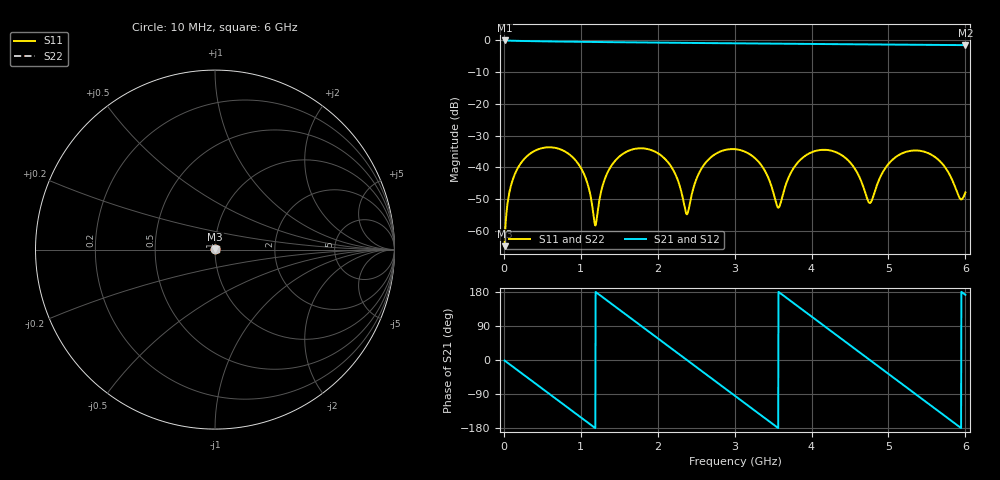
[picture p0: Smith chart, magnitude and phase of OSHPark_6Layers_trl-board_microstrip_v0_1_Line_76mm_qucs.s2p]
# HZ S RI R 50
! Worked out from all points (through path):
!   1601 points, 10 MHz to 6 GHz, reference 50 ohm
!   highest |S21| = -0.04 dB at 10 MHz (marker M1); lowest = -1.5 dB at 6 GHz (marker M2)
!   group delay of S21, straight-line fit = 420 ps
!   lowest |S11| = -64.8 dB at 10 MHz (marker M3), VSWR 1.00, Z = 50 + j0.0563 ohm
!   |S11| at or under -10 dB: start of sweep to end of sweep
!   |S22| runs from -64.8 to -33.7 dB; largest |S21 - S12| = 0
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1e7  0.000108 0.000563  0.9953 -0.0263  0.9953 -0.0263  0.000108 0.000563
1.073375e8  0.00195 0.00561  0.9457 -0.2755  0.9457 -0.2755  0.00195 0.00561
3.169875e8  0.0118 0.0101  0.6515 -0.7224  0.6515 -0.7224  0.0118 0.0101
6.53925e8  0.0202 -0.00303  -0.1486 -0.9473  -0.1486 -0.9473  0.0202 -0.00303
1.009581e9  0.00516 -0.00786  -0.8418 -0.4343  -0.8418 -0.4343  0.00516 -0.00786
1.189281e9  0.00121 -3.23e-05  -0.9419 -0.00159  -0.9419 -0.00159  0.00121 -3.23e-05
1.309081e9  0.0031 0.00557  -0.8923 0.2905  -0.8923 0.2905  0.0031 0.00557
1.466319e9  0.00971 0.00932  -0.696 0.6228  -0.696 0.6228  0.00971 0.00932
1.739612e9  0.0197 0.00218  -0.1103 0.9201  -0.1103 0.9201  0.0197 0.00218
2.009162e9  0.0142 -0.00842  0.5136 0.7632  0.5136 0.7632  0.0142 -0.00842
2.218812e9  0.0048 -0.00675  0.8337 0.3771  0.8337 0.3771  0.0048 -0.00675
2.379794e9  0.00182 7.78e-06  0.9113 -0.000398  0.9113 -0.000398  0.00182 7.78e-06
2.61565e9  0.00793 0.00835  0.7354 -0.5288  0.7354 -0.5288  0.00793 0.00835
3.005e9  0.0193 -0.00139  -0.0725 -0.8942  -0.0725 -0.8942  0.0193 -0.00139
3.338194e9  0.0078 -0.00798  -0.7298 -0.5099  -0.7298 -0.5099  0.0078 -0.00798
3.566562e9  0.00231 -0.000109  -0.8856 -0.00575  -0.8856 -0.00575  0.00231 -0.000109
4.004581e9  0.0162 0.00613  -0.3575 0.8005  -0.3575 0.8005  0.0162 0.00613
4.446344e9  0.0113 -0.00805  0.59 0.637  0.59 0.637  0.0113 -0.00805
4.757075e9  0.00274 -4.01e-05  0.8625 0.00217  0.8625 0.00217  0.00274 -4.01e-05
5.004162e9  0.0086 0.00759  0.6827 -0.5196  0.6827 -0.5196  0.0086 0.00759
5.457156e9  0.0173 -0.00406  -0.2323 -0.8173  -0.2323 -0.8173  0.0173 -0.00406
6e9  0.00344 0.0021  -0.832 0.1183  -0.832 0.1183  0.00344 0.0021
